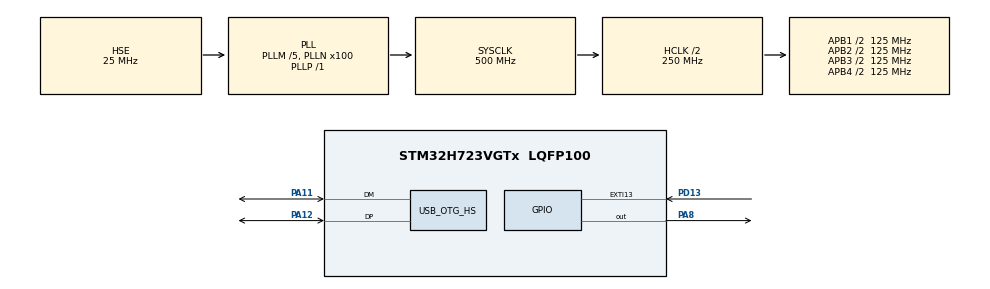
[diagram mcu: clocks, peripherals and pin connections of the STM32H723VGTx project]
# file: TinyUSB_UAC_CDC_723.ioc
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Mcu.Family=STM32H7
Mcu.Name=STM32H723VGTx
Mcu.Package=LQFP100
NVIC.EXTI15_10_IRQn=true\:3\:0\:true\:false\:true\:true\:true\:true
NVIC.OTG_HS_IRQn=true\:0\:0\:false\:false\:true\:true\:true\:true
NVIC.PriorityGroup=NVIC_PRIORITYGROUP_4
PA11.Mode=Device_Only_FS
PA11.Signal=USB_OTG_HS_DM
PA12.Mode=Device_Only_FS
PA12.Signal=USB_OTG_HS_DP
PA8.Signal=GPIO_Output
PD13.GPIO_ModeDefaultEXTI=GPIO_MODE_IT_FALLING
PD13.GPIO_PuPd=GPIO_PULLUP
PD13.Signal=GPXTI13
PH0-OSC_IN.Mode=HSE-External-Clock-Source
PH0-OSC_IN.Signal=RCC_OSC_IN
ProjectManager.HeapSize=0x200
ProjectManager.StackSize=0x400
ProjectManager.TargetToolchain=STM32CubeIDE
RCC.ADCFreq_Value=50390625
RCC.APB1Freq_Value=125000000
RCC.APB2Freq_Value=125000000
RCC.APB3Freq_Value=125000000
RCC.APB4Freq_Value=125000000
RCC.CortexFreq_Value=500000000
RCC.D1PPRE=RCC_APB3_DIV2
RCC.D2PPRE1=RCC_APB1_DIV2
RCC.D2PPRE2=RCC_APB2_DIV2
RCC.D3PPRE=RCC_APB4_DIV2
RCC.DIVM1=5
RCC.DIVN1=100
RCC.DIVP1=1
RCC.HCLKFreq_Value=250000000
RCC.HPRE=RCC_HCLK_DIV2
RCC.PLLSourceVirtual=RCC_PLLSOURCE_HSE
RCC.SYSCLKFreq_VALUE=500000000
RCC.SYSCLKSource=RCC_SYSCLKSOURCE_PLLCLK
RCC.USBCLockSelection=RCC_USBCLKSOURCE_HSI48
RCC.USBFreq_Value=48000000
USB_OTG_HS.VirtualMode-Device_Only_FS=Device_Only_FS
board=custom

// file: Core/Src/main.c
/* USER CODE BEGIN Header */
/**
 ******************************************************************************
 * @file           : main.c
 * @brief          : Main program body
 ******************************************************************************
 * @attention
 *
 * Copyright (c) 2023 STMicroelectronics.
 * All rights reserved.
 *
 * This software is licensed under terms that can be found in the LICENSE file
 * in the root directory of this software component.
 * If no LICENSE file comes with this software, it is provided AS-IS.
 *
 ******************************************************************************
 */
/*
 * The MIT License (MIT)
 *
 * Copyright (c) 2019 Ha Thach (tinyusb.org)
 * Copyright (c) 2020 Jerzy Kasenberg
 * Copyright (c) 2023 Alberto Garlassi
 *
 * A composite USB CDC + UAC device. Audio In (speaker) is available in audio_task.
 * Audio Out (microphone) generates a 432 Hz sinewave in tud_audio_tx_done_pre_load_cb.
 * For now fixed at 16 bit 48000. Set these parameters in Windows properties for the microphone peripheral.
 *
 *
 * Permission is hereby granted, free of charge, to any person obtaining a copy
 * of this software and associated documentation files (the "Software"), to deal
 * in the Software without restriction, including without limitation the rights
 * to use, copy, modify, merge, publish, distribute, sublicense, and/or sell
 * copies of the Software, and to permit persons to whom the Software is
 * furnished to do so, subject to the following conditions:
 *
 * The above copyright notice and this permission notice shall be included in
 * all copies or substantial portions of the Software.
 *
 * THE SOFTWARE IS PROVIDED "AS IS", WITHOUT WARRANTY OF ANY KIND, EXPRESS OR
 * IMPLIED, INCLUDING BUT NOT LIMITED TO THE WARRANTIES OF MERCHANTABILITY,
 * FITNESS FOR A PARTICULAR PURPOSE AND NONINFRINGEMENT. IN NO EVENT SHALL THE
 * AUTHORS OR COPYRIGHT HOLDERS BE LIABLE FOR ANY CLAIM, DAMAGES OR OTHER
 * LIABILITY, WHETHER IN AN ACTION OF CONTRACT, TORT OR OTHERWISE, ARISING FROM,
 * OUT OF OR IN CONNECTION WITH THE SOFTWARE OR THE USE OR OTHER DEALINGS IN
 * THE SOFTWARE.
 *
 */

/* USER CODE END Header */
#include "main.h"

/* USER CODE BEGIN Includes */
#include "tusb.h"

//#include "board.h"
#include "usb_descriptors.h"
/* USER CODE END Includes */

/* USER CODE BEGIN PD */

// List of supported sample rates
#if defined(__RX__)
const uint32_t sample_rates[] = {44100, 48000};
#else
const uint32_t sample_rates[] = {44100, 48000, 88200, 96000};
#endif

uint32_t current_sample_rate  = 44100;

#define N_SAMPLE_RATES  TU_ARRAY_SIZE(sample_rates)

/* Blink pattern
 * - 25 ms   : streaming data
 * - 250 ms  : device not mounted
 * - 1000 ms : device mounted
 * - 2500 ms : device is suspended
 */
enum
{
	BLINK_STREAMING = 25,
	BLINK_NOT_MOUNTED = 250,
	BLINK_MOUNTED = 1000,
	BLINK_SUSPENDED = 2500,
};

enum
{
	VOLUME_CTRL_0_DB = 0,
	VOLUME_CTRL_10_DB = 2560,
	VOLUME_CTRL_20_DB = 5120,
	VOLUME_CTRL_30_DB = 7680,
	VOLUME_CTRL_40_DB = 10240,
	VOLUME_CTRL_50_DB = 12800,
	VOLUME_CTRL_60_DB = 15360,
	VOLUME_CTRL_70_DB = 17920,
	VOLUME_CTRL_80_DB = 20480,
	VOLUME_CTRL_90_DB = 23040,
	VOLUME_CTRL_100_DB = 25600,
	VOLUME_CTRL_SILENCE = 0x8000,
};
/* USER CODE END PD */

PCD_HandleTypeDef hpcd_USB_OTG_HS;

/* USER CODE BEGIN PV */

PCD_HandleTypeDef hpcd_USB_OTG_HS;
static uint32_t blink_interval_ms = BLINK_NOT_MOUNTED;
// Audio controls
// Current states
int8_t mute[CFG_TUD_AUDIO_FUNC_1_N_CHANNELS_RX + 1];       // +1 for master channel 0
int16_t volume[CFG_TUD_AUDIO_FUNC_1_N_CHANNELS_RX + 1];    // +1 for master channel 0

// Buffer for microphone data
int32_t mic_buf[CFG_TUD_AUDIO_FUNC_1_EP_IN_SW_BUF_SZ / 4];
// Buffer for speaker data
int32_t spk_buf[CFG_TUD_AUDIO_FUNC_1_EP_OUT_SW_BUF_SZ / 4];
// Speaker data size received in the last frame
int spk_data_size;
// Resolution per format
const uint8_t resolutions_per_format[CFG_TUD_AUDIO_FUNC_1_N_FORMATS] = {CFG_TUD_AUDIO_FUNC_1_FORMAT_1_RESOLUTION_RX,
		CFG_TUD_AUDIO_FUNC_1_FORMAT_2_RESOLUTION_RX};
// Current resolution, update on format change
uint8_t current_resolution;

volatile uint32_t AudioCounter;
uint32_t TestGlobalVar;
uint8_t BufferFillRequired = 1;
uint8_t SendGreetings = 1;

/* USER CODE END PV */

void SystemClock_Config(void);
static void MX_GPIO_Init(void);
static void MX_USB_OTG_HS_PCD_Init(void);

/* USER CODE BEGIN 0 */
uint32_t board_millis(void);
//--------------------------------------------------------------------+
// Device callbacks
//--------------------------------------------------------------------+

// Invoked when device is mounted
void tud_mount_cb(void)
{
	blink_interval_ms = BLINK_MOUNTED;
}

// Invoked when device is unmounted
void tud_umount_cb(void)
{
	blink_interval_ms = BLINK_NOT_MOUNTED;
}

// Invoked when usb bus is suspended
// remote_wakeup_en : if host allow us  to perform remote wakeup
// Within 7ms, device must draw an average of current less than 2.5 mA from bus
void tud_suspend_cb(bool remote_wakeup_en)
{
	(void)remote_wakeup_en;
	blink_interval_ms = BLINK_SUSPENDED;
}

// Invoked when usb bus is resumed
void tud_resume_cb(void)
{
	blink_interval_ms = BLINK_MOUNTED;
}

// Helper for clock get requests
static bool tud_audio_clock_get_request(uint8_t rhport, audio_control_request_t const *request)
{
	TU_ASSERT(request->bEntityID == UAC2_ENTITY_CLOCK);

	if (request->bControlSelector == AUDIO_CS_CTRL_SAM_FREQ)
	{
		if (request->bRequest == AUDIO_CS_REQ_CUR)
		{
			TU_LOG1("Clock get current freq %lu\r\n", current_sample_rate);

			audio_control_cur_4_t curf = { (int32_t) tu_htole32(current_sample_rate) };
			return tud_audio_buffer_and_schedule_control_xfer(rhport, (tusb_control_request_t const *)request, &curf, sizeof(curf));
		}
		else if (request->bRequest == AUDIO_CS_REQ_RANGE)
		{
			audio_control_range_4_n_t(N_SAMPLE_RATES) rangef =
			{
					.wNumSubRanges = tu_htole16(N_SAMPLE_RATES)
			};
			TU_LOG1("Clock get %d freq ranges\r\n", N_SAMPLE_RATES);
			for(uint8_t i = 0; i < N_SAMPLE_RATES; i++)
			{
				rangef.subrange[i].bMin = (int32_t) sample_rates[i];
				rangef.subrange[i].bMax = (int32_t) sample_rates[i];
				rangef.subrange[i].bRes = 0;
				TU_LOG1("Range %d (%d, %d, %d)\r\n", i, (int)rangef.subrange[i].bMin, (int)rangef.subrange[i].bMax, (int)rangef.subrange[i].bRes);
			}

			return tud_audio_buffer_and_schedule_control_xfer(rhport, (tusb_control_request_t const *)request, &rangef, sizeof(rangef));
		}
	}
	else if (request->bControlSelector == AUDIO_CS_CTRL_CLK_VALID &&
			request->bRequest == AUDIO_CS_REQ_CUR)
	{
		audio_control_cur_1_t cur_valid = { .bCur = 1 };
		TU_LOG1("Clock get is valid %u\r\n", cur_valid.bCur);
		return tud_audio_buffer_and_schedule_control_xfer(rhport, (tusb_control_request_t const *)request, &cur_valid, sizeof(cur_valid));
	}
	TU_LOG1("Clock get request not supported, entity = %u, selector = %u, request = %u\r\n",
			request->bEntityID, request->bControlSelector, request->bRequest);
	return false;
}

// Helper for clock set requests
static bool tud_audio_clock_set_request(uint8_t rhport, audio_control_request_t const *request, uint8_t const *buf)
{
	(void)rhport;

	TU_ASSERT(request->bEntityID == UAC2_ENTITY_CLOCK);
	TU_VERIFY(request->bRequest == AUDIO_CS_REQ_CUR);

	if (request->bControlSelector == AUDIO_CS_CTRL_SAM_FREQ)
	{
		TU_VERIFY(request->wLength == sizeof(audio_control_cur_4_t));

		current_sample_rate = (uint32_t) ((audio_control_cur_4_t const *)buf)->bCur;

		TU_LOG1("Clock set current freq: %ld\r\n", current_sample_rate);

		return true;
	}
	else
	{
		TU_LOG1("Clock set request not supported, entity = %u, selector = %u, request = %u\r\n",
				request->bEntityID, request->bControlSelector, request->bRequest);
		return false;
	}
}

// Helper for feature unit get requests
static bool tud_audio_feature_unit_get_request(uint8_t rhport, audio_control_request_t const *request)
{
	TU_ASSERT(request->bEntityID == UAC2_ENTITY_SPK_FEATURE_UNIT);

	if (request->bControlSelector == AUDIO_FU_CTRL_MUTE && request->bRequest == AUDIO_CS_REQ_CUR)
	{
		audio_control_cur_1_t mute1 = { .bCur = mute[request->bChannelNumber] };
		TU_LOG1("Get channel %u mute %d\r\n", request->bChannelNumber, mute1.bCur);
		return tud_audio_buffer_and_schedule_control_xfer(rhport, (tusb_control_request_t const *)request, &mute1, sizeof(mute1));
	}
	else if (UAC2_ENTITY_SPK_FEATURE_UNIT && request->bControlSelector == AUDIO_FU_CTRL_VOLUME)
	{
		if (request->bRequest == AUDIO_CS_REQ_RANGE)
		{
			audio_control_range_2_n_t(1) range_vol = {
					.wNumSubRanges = tu_htole16(1),
					.subrange[0] = { .bMin = tu_htole16(-VOLUME_CTRL_50_DB), tu_htole16(VOLUME_CTRL_0_DB), tu_htole16(256) }
			};
			TU_LOG1("Get channel %u volume range (%d, %d, %u) dB\r\n", request->bChannelNumber,
					range_vol.subrange[0].bMin / 256, range_vol.subrange[0].bMax / 256, range_vol.subrange[0].bRes / 256);
			return tud_audio_buffer_and_schedule_control_xfer(rhport, (tusb_control_request_t const *)request, &range_vol, sizeof(range_vol));
		}
		else if (request->bRequest == AUDIO_CS_REQ_CUR)
		{
			audio_control_cur_2_t cur_vol = { .bCur = tu_htole16(volume[request->bChannelNumber]) };
			TU_LOG1("Get channel %u volume %d dB\r\n", request->bChannelNumber, cur_vol.bCur / 256);
			return tud_audio_buffer_and_schedule_control_xfer(rhport, (tusb_control_request_t const *)request, &cur_vol, sizeof(cur_vol));
		}
	}
	TU_LOG1("Feature unit get request not supported, entity = %u, selector = %u, request = %u\r\n",
			request->bEntityID, request->bControlSelector, request->bRequest);

	return false;
}

// Helper for feature unit set requests
static bool tud_audio_feature_unit_set_request(uint8_t rhport, audio_control_request_t const *request, uint8_t const *buf)
{
	(void)rhport;

	TU_ASSERT(request->bEntityID == UAC2_ENTITY_SPK_FEATURE_UNIT);
	TU_VERIFY(request->bRequest == AUDIO_CS_REQ_CUR);

	if (request->bControlSelector == AUDIO_FU_CTRL_MUTE)
	{
		TU_VERIFY(request->wLength == sizeof(audio_control_cur_1_t));

		mute[request->bChannelNumber] = ((audio_control_cur_1_t const *)buf)->bCur;

		TU_LOG1("Set channel %d Mute: %d\r\n", request->bChannelNumber, mute[request->bChannelNumber]);

		return true;
	}
	else if (request->bControlSelector == AUDIO_FU_CTRL_VOLUME)
	{
		TU_VERIFY(request->wLength == sizeof(audio_control_cur_2_t));

		volume[request->bChannelNumber] = ((audio_control_cur_2_t const *)buf)->bCur;

		TU_LOG1("Set channel %d volume: %d dB\r\n", request->bChannelNumber, volume[request->bChannelNumber] / 256);

		return true;
	}
	else
	{
		TU_LOG1("Feature unit set request not supported, entity = %u, selector = %u, request = %u\r\n",
				request->bEntityID, request->bControlSelector, request->bRequest);
		return false;
	}
}

//--------------------------------------------------------------------+
// Application Callback API Implementations
//--------------------------------------------------------------------+

// Invoked when audio class specific get request received for an entity
bool tud_audio_get_req_entity_cb(uint8_t rhport, tusb_control_request_t const *p_request)
{
	audio_control_request_t const *request = (audio_control_request_t const *)p_request;

	if (request->bEntityID == UAC2_ENTITY_CLOCK)
		return tud_audio_clock_get_request(rhport, request);
	if (request->bEntityID == UAC2_ENTITY_SPK_FEATURE_UNIT)
		return tud_audio_feature_unit_get_request(rhport, request);
	else
	{
		TU_LOG1("Get request not handled, entity = %d, selector = %d, request = %d\r\n",
				request->bEntityID, request->bControlSelector, request->bRequest);
	}
	return false;
}

// Invoked when audio class specific set request received for an entity
bool tud_audio_set_req_entity_cb(uint8_t rhport, tusb_control_request_t const *p_request, uint8_t *buf)
{
	audio_control_request_t const *request = (audio_control_request_t const *)p_request;

	if (request->bEntityID == UAC2_ENTITY_SPK_FEATURE_UNIT)
		return tud_audio_feature_unit_set_request(rhport, request, buf);
	if (request->bEntityID == UAC2_ENTITY_CLOCK)
		return tud_audio_clock_set_request(rhport, request, buf);
	TU_LOG1("Set request not handled, entity = %d, selector = %d, request = %d\r\n",
			request->bEntityID, request->bControlSelector, request->bRequest);

	return false;
}

bool tud_audio_set_itf_close_EP_cb(uint8_t rhport, tusb_control_request_t const * p_request)
{
	(void)rhport;

	uint8_t const itf = tu_u16_low(tu_le16toh(p_request->wIndex));
	uint8_t const alt = tu_u16_low(tu_le16toh(p_request->wValue));

	if (ITF_NUM_AUDIO_STREAMING_SPK == itf && alt == 0)
		blink_interval_ms = BLINK_MOUNTED;

	return true;
}

bool tud_audio_set_itf_cb(uint8_t rhport, tusb_control_request_t const * p_request)
{
	(void)rhport;
	uint8_t const itf = tu_u16_low(tu_le16toh(p_request->wIndex));
	uint8_t const alt = tu_u16_low(tu_le16toh(p_request->wValue));

	TU_LOG2("Set interface %d alt %d\r\n", itf, alt);
	if (ITF_NUM_AUDIO_STREAMING_SPK == itf && alt != 0)
		blink_interval_ms = BLINK_STREAMING;

	// Clear buffer when streaming format is changed
	spk_data_size = 0;
	if(alt != 0)
	{
		current_resolution = resolutions_per_format[alt-1];
	}

	return true;
}

bool tud_audio_rx_done_pre_read_cb(uint8_t rhport, uint16_t n_bytes_received, uint8_t func_id, uint8_t ep_out, uint8_t cur_alt_setting)
{
	(void)rhport;
	(void)func_id;
	(void)ep_out;
	(void)cur_alt_setting;

	spk_data_size = tud_audio_read(spk_buf, n_bytes_received);
	return true;
}

bool tud_audio_tx_done_pre_load_cb(uint8_t rhport, uint8_t itf, uint8_t ep_in, uint8_t cur_alt_setting)
{
	(void)rhport;
	(void)itf;
	(void)ep_in;
	(void)cur_alt_setting;
	int16_t *dst = (int16_t*)mic_buf;

#if 0

	for (uint16_t i = 0; i < 48000/1000; i++ )
	{
		*dst ++ = (int16_t)(20000.0 * sinf(432.0 * 6.28 * AudioCounter++ / 48000));
	}
	tud_audio_write((uint8_t *)mic_buf, (uint16_t) (2 * 48000 /1000));

#endif

	// This callback could be used to fill microphone data separately
	return true;
}

//--------------------------------------------------------------------+
// USB CDC
//--------------------------------------------------------------------+
// Invoked when cdc when line state changed e.g connected/disconnected
void tud_cdc_line_state_cb(uint8_t itf, bool dtr, bool rts)
{
	(void) itf;
	(void) rts;

	// TODO set some indicator
	if ( dtr )
	{
		// Terminal connected
	}else
	{
		// Terminal disconnected
	}
}

// Invoked when CDC interface received data from host
void tud_cdc_rx_cb(uint8_t itf)
{
	(void) itf;
}

void cdc_task(void)
{
	// connected() check for DTR bit
	// Most but not all terminal client set this when making connection
	if ( tud_cdc_connected() )
	{
		//TODO: terminal shows message only after a key is pressed. Why?
		if (SendGreetings && tud_cdc_write_available())
		{
			tud_cdc_write("\n\rHello!\n\r", 8);
			tud_cdc_write_flush();
			SendGreetings = 0;
		}
		// connected and there are data available
		if ( tud_cdc_available() )
		{
			// read data
			char buf[64];
			uint32_t count = tud_cdc_read(buf, sizeof(buf));
			(void) count;

			// Echo back
			// Note: Skip echo by commenting out write() and write_flush()
			// for throughput test e.g
			//    $ dd if=/dev/zero of=/dev/ttyACM0 count=10000
			tud_cdc_write(buf, count);
			tud_cdc_write_flush();
		}
	}
}

//--------------------------------------------------------------------+
// AUDIO Task
//--------------------------------------------------------------------+

void audio_task(void)
{

#if 1

	// When new data arrived, copy data from speaker buffer, to microphone buffer
	// and send it over
	// Only support speaker & headphone both have the same resolution
	// If one is 16bit another is 24bit be care of LOUD noise !

#if 0
	//generate nasty noise
	mic_buf[0] = 20000;
	mic_buf[1] = 20000;
	mic_buf[2] = 20000;
	mic_buf[3] = 20000;
	tud_audio_write((uint8_t *)mic_buf, (uint16_t) (48));
#endif

	if (spk_data_size)
	{
		if (current_resolution == 16)
		{
			int16_t *src = (int16_t*)spk_buf;
			int16_t *limit = (int16_t*)spk_buf + spk_data_size / 2;
			int16_t *dst = (int16_t*)mic_buf;
			while (src < limit)
			{
				// Combine two channels into one
				int32_t left = *src++;
				int32_t right = *src++;
				*dst++ = (int16_t) ((left >> 1) + (right >> 1));
			}
			tud_audio_write((uint8_t *)mic_buf, (uint16_t) (spk_data_size / 2));
			spk_data_size = 0;
		}
		else if (current_resolution == 24)
		{
			int32_t *src = spk_buf;
			int32_t *limit = spk_buf + spk_data_size / 4;
			int32_t *dst = mic_buf;
			while (src < limit)
			{
				// Combine two channels into one
				int32_t left = *src++;
				int32_t right = *src++;
				*dst++ = (int32_t) ((uint32_t) ((left >> 1) + (right >> 1)) & 0xffffff00ul);
			}
			tud_audio_write((uint8_t *)mic_buf, (uint16_t) (spk_data_size / 2));
			spk_data_size = 0;
		}
	}
#endif
}

//--------------------------------------------------------------------+
// BLINKING TASK
//--------------------------------------------------------------------+
void led_blinking_task(void)
{
	static uint32_t start_ms = 0;
	static bool led_state = false;

	// Blink every interval ms
	if (board_millis() - start_ms < blink_interval_ms) return;
	start_ms += blink_interval_ms;

	//  board_led_write(led_state);
	led_state = 1 - led_state;
}

void  HAL_GPIO_EXTI_Callback(uint16_t GPIO_Pin){
	if(GPIO_Pin == GPIO_PIN_13) {
		HAL_GPIO_WritePin(GPIOA, GPIO_PIN_8, 1);
		tud_task();
		HAL_GPIO_WritePin(GPIOA, GPIO_PIN_8, 0);
		audio_task();
		cdc_task();
		TestGlobalVar++;
		//			AudioCounter = TestGlobalVar;
	}

}

/* USER CODE END 0 */

int main(void)
{

  /* MCU Configuration--------------------------------------------------------*/

  /* Reset of all peripherals, Initializes the Flash interface and the Systick. */
  HAL_Init();

  /* Configure the system clock */
  SystemClock_Config();

  /* Initialize all configured peripherals */
  MX_GPIO_Init();
  MX_USB_OTG_HS_PCD_Init();
  /* USER CODE BEGIN 2 */
	HAL_GPIO_WritePin(GPIOA, GPIO_PIN_8, 1);
	HAL_Delay(1000);
	HAL_GPIO_WritePin(GPIOA, GPIO_PIN_8, 0);
	HAL_Delay(1000);
	//  board_init();
	TU_ASSERT(tusb_init());

  /* USER CODE END 2 */

  /* Infinite loop */
	while (1)
	{

    /* USER CODE BEGIN 3 */
#if 0
		HAL_GPIO_WritePin(GPIOA, GPIO_PIN_8, 1);
		tud_task();  //about 2.5 uSec
		HAL_GPIO_WritePin(GPIOA, GPIO_PIN_8, 0);
		audio_task();
		cdc_task();
		TestGlobalVar++;
		AudioCounter = TestGlobalVar;
#endif
	}
  /* USER CODE END 3 */
}

void SystemClock_Config(void)
{
  RCC_OscInitTypeDef RCC_OscInitStruct = {0};
  RCC_ClkInitTypeDef RCC_ClkInitStruct = {0};

  /** Supply configuration update enable
  */
  HAL_PWREx_ConfigSupply(PWR_LDO_SUPPLY);

  /** Configure the main internal regulator output voltage
  */
  __HAL_PWR_VOLTAGESCALING_CONFIG(PWR_REGULATOR_VOLTAGE_SCALE0);

  while(!__HAL_PWR_GET_FLAG(PWR_FLAG_VOSRDY)) {}

  /** Initializes the RCC Oscillators according to the specified parameters
  * in the RCC_OscInitTypeDef structure.
  */
  RCC_OscInitStruct.OscillatorType = RCC_OSCILLATORTYPE_HSI48|RCC_OSCILLATORTYPE_HSE;
  RCC_OscInitStruct.HSEState = RCC_HSE_BYPASS;
  RCC_OscInitStruct.HSI48State = RCC_HSI48_ON;
  RCC_OscInitStruct.PLL.PLLState = RCC_PLL_ON;
  RCC_OscInitStruct.PLL.PLLSource = RCC_PLLSOURCE_HSE;
  RCC_OscInitStruct.PLL.PLLM = 5;
  RCC_OscInitStruct.PLL.PLLN = 100;
  RCC_OscInitStruct.PLL.PLLP = 1;
  RCC_OscInitStruct.PLL.PLLQ = 2;
  RCC_OscInitStruct.PLL.PLLR = 2;
  RCC_OscInitStruct.PLL.PLLRGE = RCC_PLL1VCIRANGE_2;
  RCC_OscInitStruct.PLL.PLLVCOSEL = RCC_PLL1VCOWIDE;
  RCC_OscInitStruct.PLL.PLLFRACN = 0;
  if (HAL_RCC_OscConfig(&RCC_OscInitStruct) != HAL_OK)
  {
    Error_Handler();
  }

  /** Initializes the CPU, AHB and APB buses clocks
  */
  RCC_ClkInitStruct.ClockType = RCC_CLOCKTYPE_HCLK|RCC_CLOCKTYPE_SYSCLK
                              |RCC_CLOCKTYPE_PCLK1|RCC_CLOCKTYPE_PCLK2
                              |RCC_CLOCKTYPE_D3PCLK1|RCC_CLOCKTYPE_D1PCLK1;
  RCC_ClkInitStruct.SYSCLKSource = RCC_SYSCLKSOURCE_PLLCLK;
  RCC_ClkInitStruct.SYSCLKDivider = RCC_SYSCLK_DIV1;
  RCC_ClkInitStruct.AHBCLKDivider = RCC_HCLK_DIV2;
  RCC_ClkInitStruct.APB3CLKDivider = RCC_APB3_DIV2;
  RCC_ClkInitStruct.APB1CLKDivider = RCC_APB1_DIV2;
  RCC_ClkInitStruct.APB2CLKDivider = RCC_APB2_DIV2;
  RCC_ClkInitStruct.APB4CLKDivider = RCC_APB4_DIV2;

  if (HAL_RCC_ClockConfig(&RCC_ClkInitStruct, FLASH_LATENCY_3) != HAL_OK)
  {
    Error_Handler();
  }
}

static void MX_USB_OTG_HS_PCD_Init(void)
{

  hpcd_USB_OTG_HS.Instance = USB_OTG_HS;
  hpcd_USB_OTG_HS.Init.dev_endpoints = 9;
  hpcd_USB_OTG_HS.Init.speed = PCD_SPEED_FULL;
  hpcd_USB_OTG_HS.Init.dma_enable = DISABLE;
  hpcd_USB_OTG_HS.Init.phy_itface = USB_OTG_EMBEDDED_PHY;
  hpcd_USB_OTG_HS.Init.Sof_enable = DISABLE;
  hpcd_USB_OTG_HS.Init.low_power_enable = DISABLE;
  hpcd_USB_OTG_HS.Init.lpm_enable = DISABLE;
  hpcd_USB_OTG_HS.Init.vbus_sensing_enable = DISABLE;
  hpcd_USB_OTG_HS.Init.use_dedicated_ep1 = DISABLE;
  hpcd_USB_OTG_HS.Init.use_external_vbus = DISABLE;
  if (HAL_PCD_Init(&hpcd_USB_OTG_HS) != HAL_OK)
  {
    Error_Handler();
  }

}

static void MX_GPIO_Init(void)
{
  GPIO_InitTypeDef GPIO_InitStruct = {0};

  /* GPIO Ports Clock Enable */
  __HAL_RCC_GPIOH_CLK_ENABLE();
  __HAL_RCC_GPIOD_CLK_ENABLE();
  __HAL_RCC_GPIOA_CLK_ENABLE();

  /*Configure GPIO pin Output Level */
  HAL_GPIO_WritePin(GPIOA, GPIO_PIN_8, GPIO_PIN_RESET);

  /*Configure GPIO pin : PD13 */
  GPIO_InitStruct.Pin = GPIO_PIN_13;
  GPIO_InitStruct.Mode = GPIO_MODE_IT_FALLING;
  GPIO_InitStruct.Pull = GPIO_PULLUP;
  HAL_GPIO_Init(GPIOD, &GPIO_InitStruct);

  /*Configure GPIO pin : PA8 */
  GPIO_InitStruct.Pin = GPIO_PIN_8;
  GPIO_InitStruct.Mode = GPIO_MODE_OUTPUT_PP;
  GPIO_InitStruct.Pull = GPIO_NOPULL;
  GPIO_InitStruct.Speed = GPIO_SPEED_FREQ_LOW;
  HAL_GPIO_Init(GPIOA, &GPIO_InitStruct);

  /* EXTI interrupt init*/
  HAL_NVIC_SetPriority(EXTI15_10_IRQn, 3, 0);
  HAL_NVIC_EnableIRQ(EXTI15_10_IRQn);

}

void Error_Handler(void)
{
	__disable_irq();
	while (1)
	{
	}
}
